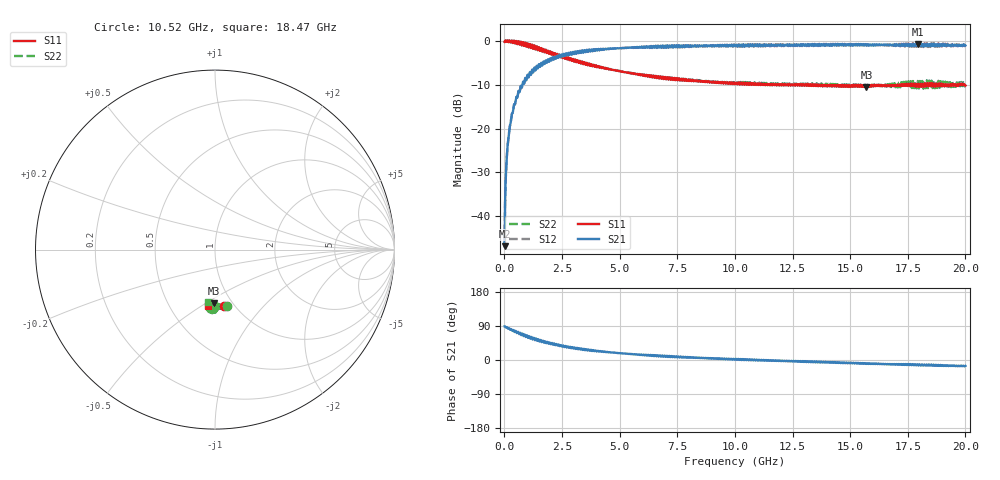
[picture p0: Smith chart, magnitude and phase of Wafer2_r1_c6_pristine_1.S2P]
!  2-Port S-parameters saved by WinCal
! VAR MeasName=S-Parameters (CALIBRATED_DATA) read from VNA (P5004A)
! VAR MeasDate=26/04/2024 17:47:01
! VAR NAME=Wafer2_r1_c6_pristine
! VAR FILENAME=Wafer2_r1_c6_pristine_1.S2P
! VAR DATE=26/04/2024 17:47:02
! VAR PHYS_PORTS=1,2
! VAR ObjTypeName=DATASET
! VAR IndexType=Frequency
# Hz S MA R 50
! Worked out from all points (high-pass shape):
!   1999 points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, 10.01 MHz to 20 GHz, reference 50 ohm
!   highest |S21| = -0.67 dB at 17.94 GHz (marker M1); lowest = -46.8 dB at 10.01 MHz (marker M2)
!   |S21| within 3 dB of the highest: 2.26 GHz to 2.315 GHz (55.23 MHz wide, 2.41 % of centre); 2.347 GHz to end of sweep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
!   lowest |S11| = -10.5 dB at 15.71 GHz (marker M3), VSWR 1.85, Z = 41.3 - j27.2 ohm
!   |S11| at or under -10 dB: 13.78 GHz to 13.88 GHz (93.15 MHz wide, 0.674 % of centre); 13.88 GHz to 16.15 GHz (2.278 GHz wide, 15.2 % of centre); 16.17 GHz to 17.03 GHz (867.6 MHz wide, 5.23 % of centre)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
!   |S22| runs from -10.9 to 0.1 dB; largest |S21 - S12| = 0.038
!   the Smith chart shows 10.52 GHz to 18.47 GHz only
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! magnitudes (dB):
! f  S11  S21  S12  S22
! 10.01 MHz  -0.2  -46.8  -46.8  -0.2
! 50.03 MHz  0.1  -32.7  -32.8  0.1
! 120.1 MHz  0.1  -25.3  -25.3  0.0
! 160.1 MHz  -0.1  -23.0  -23.0  -0.1
! 210.1 MHz  0.0  -20.5  -20.5  0.0
! 280.1 MHz  -0.3  -18.4  -18.3  -0.3
! 380.2 MHz  -0.4  -15.9  -15.8  -0.4
! 500.3 MHz  -0.1  -13.3  -13.2  -0.1
! 660.3 MHz  -0.8  -11.6  -11.6  -0.8
! 850.4 MHz  -1.1  -9.7  -9.7  -1.1
! 1.051 GHz  -1.4  -8.3  -8.3  -1.4
! 1.551 GHz  -2.2  -5.8  -5.8  -2.2
! 2.331 GHz  -3.5  -3.8  -3.8  -3.5
! 3.342 GHz  -5.0  -2.5  -2.5  -5.0
! 4.802 GHz  -6.7  -1.6  -1.7  -6.6
! 6.673 GHz  -8.0  -1.1  -1.1  -8.2
! 10.01 GHz  -9.8  -1.1  -1.3  -9.8
! 13.35 GHz  -10.0  -0.9  -0.7  -9.6
! 15.71 GHz  -10.5  -1.0  -1.0  -10.4
! 16.68 GHz  -10.2  -0.9  -1.0  -10.4
! 17.94 GHz  -9.8  -0.7  -0.6  -9.4
! 20 GHz  -10.1  -1.0  -0.9  -9.9
